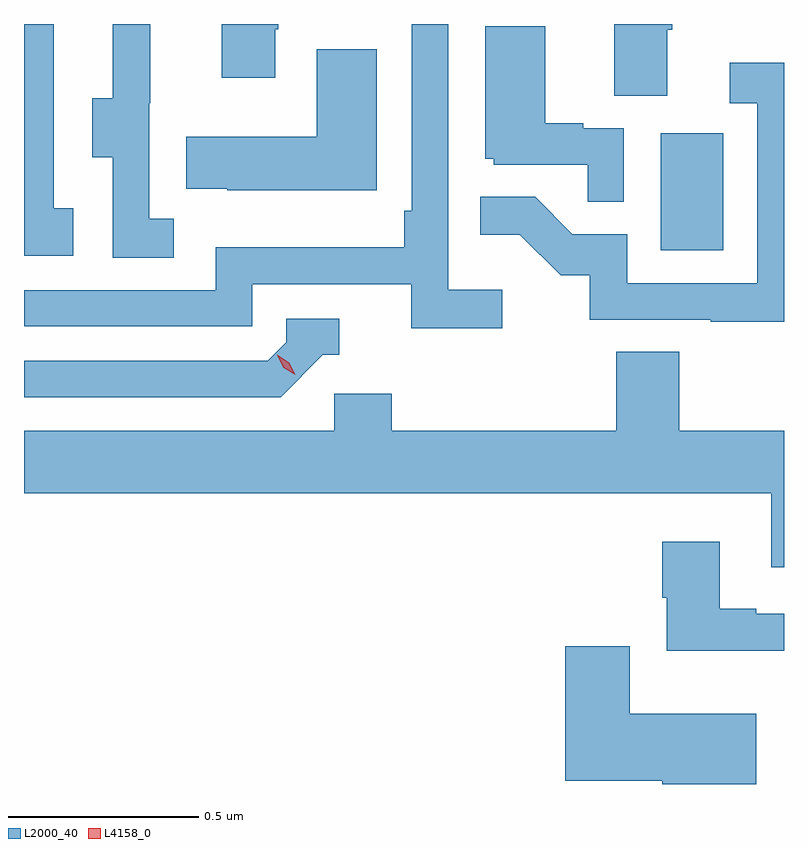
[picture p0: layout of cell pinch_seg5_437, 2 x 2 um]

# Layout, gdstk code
import gdstk
lib = gdstk.Library(unit=1e-6, precision=1e-09)
def R(c, l, rs):  # rectangles x0, y0, x1, y1
    for r in rs: c.add(gdstk.rectangle(r[:2], r[2:], *l))
def P(c, l, *ps):  # polygons
    for p in ps: c.add(gdstk.Polygon(p, *l))
L2000_40 = (2000, 40)
L4158_0 = (4158, 0)

pinch_seg5_437 = lib.new_cell('pinch_seg5_437')
R(pinch_seg5_437, L2000_40, [(953.018,856.068,953.182,856.375)])
P(pinch_seg5_437, L2000_40, [(952.003,856.649),(952.011,856.649),(952.011,856.663),(951.863,856.663),(951.863,856.521),(952.003,856.521)],
  [(953.035,856.648),(953.048,856.648),(953.048,856.663),(952.895,856.663),(952.895,856.474),(953.035,856.474)],
  [(951.472,856.178),(951.42,856.178),(951.42,856.663),(951.342,856.663),(951.342,856.053),(951.472,856.053)],
  [(951.736,856.151),(951.672,856.151),(951.672,856.455),(951.674,856.455),(951.674,856.663),(951.575,856.663),(951.575,856.467),(951.521,856.467),(951.521,856.312),(951.576,856.312),(951.576,856.048),(951.736,856.048)],
  [(952.6,855.964),(952.458,855.964),(952.458,856.663),(952.362,856.663),(952.362,856.171),(952.342,856.171),(952.342,856.075),(951.846,856.075),(951.846,855.963),(951.342,855.963),(951.342,855.867),(951.942,855.867),(951.942,855.978),(952.361,855.978),(952.361,855.862),(952.6,855.862)],
  [(952.92,856.389),(952.814,856.389),(952.814,856.402),(952.714,856.402),(952.714,856.657),(952.556,856.657),(952.556,856.308),(952.578,856.308),(952.578,856.293),(952.825,856.293),(952.825,856.195),(952.92,856.195)],
  [(952.27,856.597),(952.112,856.597),(952.112,856.366),(951.769,856.366),(951.769,856.229),(951.877,856.229),(951.877,856.226),(952.27,856.226)],
  [(953.342,856.561),(953.199,856.561),(953.199,856.455),(953.271,856.455),(953.271,855.981),(952.929,855.981),(952.929,856.11),(952.785,856.11),(952.687,856.208),(952.543,856.208),(952.543,856.109),(952.647,856.109),(952.754,856.002),(952.831,856.002),(952.831,855.885),(953.149,855.885),(953.149,855.88),(953.342,855.88)],
  [(952.128,855.792),(952.171,855.792),(952.171,855.888),(952.032,855.888),(952.032,855.825),(951.984,855.777),(951.342,855.777),(951.342,855.681),(952.017,855.681)],
  [(953.342,855.592),(953.066,855.592),(953.066,855.8),(952.901,855.8),(952.901,855.592),(952.31,855.592),(952.31,855.69),(952.158,855.69),(952.158,855.592),(951.342,855.592),(951.342,855.428),(953.309,855.428),(953.309,855.234),(953.342,855.234)],
  [(953.342,855.111),(953.269,855.111),(953.269,855.124),(953.173,855.124),(953.173,855.301),(953.021,855.301),(953.021,855.153),(953.033,855.153),(953.033,855.014),(953.342,855.014)],
  [(953.269,854.848),(952.936,854.848),(952.936,855.025),(952.766,855.025),(952.766,854.672),(953.022,854.672),(953.022,854.663),(953.269,854.663)])
P(pinch_seg5_437, L4158_0, [(952.056,855.74),(952.025,855.759),(952.009,855.791),(952.009,855.792),(952.009,855.792),(952.04,855.772),(952.056,855.74),(952.056,855.74)])

lib.write_gds('pinch_seg5_437.gds')
